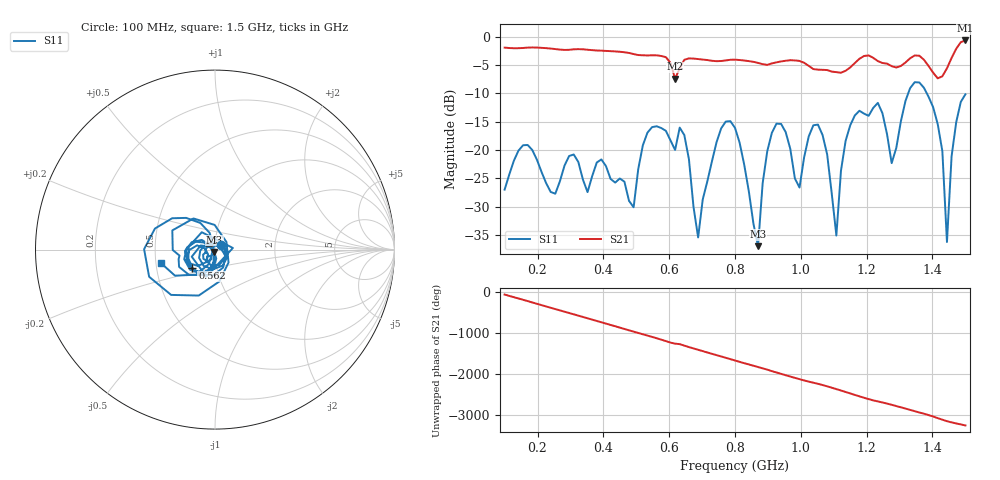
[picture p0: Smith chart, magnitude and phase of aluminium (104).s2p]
! NanoVNA-App
! Date: 2025-09-25 14:56:05
! Start: 100MHz Stop: 1,5GHz Points: 101
! S-Parameter data: F S11 S21 S12 S22
# Hz S RI R 50
!  Frequency  S11_Real  S11_Imag  S21_Real  S21_Imag  S12_Real  S12_Imag  S22_Real  S22_Imag
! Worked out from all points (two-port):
!   101 points, 100 MHz to 1.5 GHz, reference 50 ohm
!   highest |S21| = -0.65 dB at 1.5 GHz (marker M1); lowest = -7.4 dB at 618 MHz (marker M2)
!   |S21| within 3 dB of the highest: start of sweep to 590.6 MHz; 1.459 GHz to end of sweep (the widest 2 of 4)
!   lowest |S11| = -37.0 dB at 870 MHz (marker M3), VSWR 1.03, Z = 49.6 - j1.36 ohm
!   |S11| at or under -10 dB: start of sweep to 1.326 GHz; 1.383 GHz to end of sweep
!   S12 and S22 are empty: the file has one direction only
!   S11 on the Smith chart (normalised r, x): 100 MHz: 1.07, +0.06; 562 MHz: 0.76, -0.16; 1.5 GHz: 0.53, -0.09
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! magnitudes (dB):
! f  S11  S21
! 100 MHz  -27.0  -1.9
! 338 MHz  -25.2  -2.2
! 492 MHz  -30.1  -3.1
! 562 MHz  -15.8  -3.3
! 576 MHz  -16.1  -3.4
! 618 MHz  -20.0  -7.4
! 646 MHz  -17.4  -4.1
! 688 MHz  -35.4  -3.9
! 800 MHz  -16.1  -4.0
! 870 MHz  -37.0  -4.6
! 912 MHz  -17.0  -4.7
! 996 MHz  -26.6  -4.3
! 1.038 GHz  -15.6  -5.7
! 1.108 GHz  -35.1  -6.2
! 1.164 GHz  -13.9  -4.6
! 1.234 GHz  -11.7  -4.3
! 1.276 GHz  -22.3  -5.2
! 1.374 GHz  -9.0  -4.1
! 1.43 GHz  -20.2  -7.0
! 1.444 GHz  -36.2  -5.6
! 1.458 GHz  -21.1  -3.8
! 1.5 GHz  -10.2  -0.7
